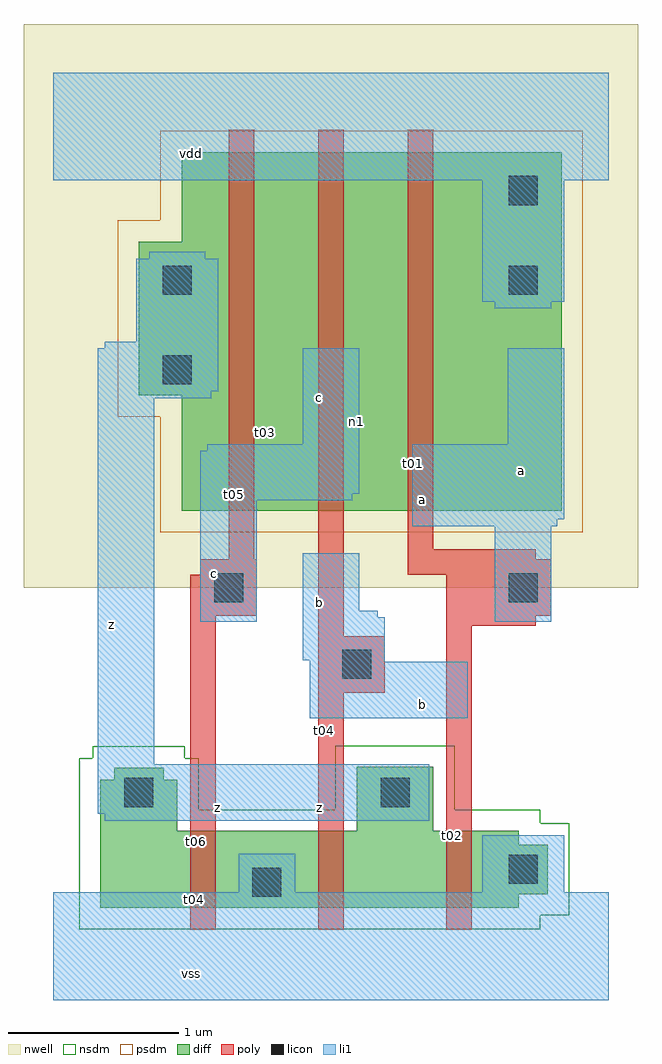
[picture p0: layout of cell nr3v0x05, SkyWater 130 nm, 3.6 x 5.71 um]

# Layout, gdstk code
import gdstk
lib = gdstk.Library(unit=1e-6, precision=5e-09)
def R(c, l, rs):  # rectangles x0, y0, x1, y1
    for r in rs: c.add(gdstk.rectangle(r[:2], r[2:], *l))
def A(c, l, x, y, w, h, nx, ny, dx, dy):  # array of equal rectangles
    R(c, l, [(x+i*dx, y+j*dy, x+i*dx+w, y+j*dy+h) for i in range(nx) for j in range(ny)])
nwell = (64, 20)
diff = (65, 20)
poly = (66, 20)
licon = (66, 44)
li1 = (67, 20)
nsdm = (93, 44)
psdm = (94, 20)

nr3v0x05 = lib.new_cell('nr3v0x05')
R(nr3v0x05, nwell, [(-0.3,2.4,3.3,5.7)])
R(nr3v0x05, diff, [(0.15,0.525,0.6,1.275), (0.15,0.525,2.6,0.975), (0.23,0.525,0.52,1.345), (1.65,0.525,2.1,1.35), (0.15,0.605,2.77,0.895), (0.625,2.85,2.85,4.95), (0.375,3.525,2.85,4.425)])
R(nr3v0x05, poly, [(0.675,0.395,0.825,2.475), (1.425,0.395,1.575,5.08), (2.175,0.395,2.325,2.625), (1.425,1.785,1.815,2.115), (2.175,2.175,2.7,2.625), (0.675,2.235,1.065,2.475), (0.735,2.235,1.065,2.565), (0.9,2.235,1.05,5.08), (2.175,2.235,2.7,2.625), (2.175,2.235,2.79,2.565), (1.95,2.475,2.1,5.08), (1.95,2.475,2.7,2.625)])
R(nr3v0x05, licon, [(1.04,0.59,1.21,0.76), (2.54,0.665,2.71,0.835), (0.29,1.115,0.46,1.285), (1.79,1.115,1.96,1.285), (1.565,1.865,1.735,2.035), (0.815,2.315,0.985,2.485), (2.54,2.315,2.71,2.485), (0.515,3.59,0.685,3.76), (0.515,4.115,0.685,4.285), (2.54,4.115,2.71,4.285), (2.54,4.64,2.71,4.81)])
A(nr3v0x05, li1, 1.375, 1.035, 0.25, 0.33, 1, 3, 0, 1.2)
R(nr3v0x05, li1, [(-0.125,-0.015,3.125,0.615), (-0.125,-0.015,3.125,0.615), (-0.125,-0.015,3.125,0.615), (0.96,-0.015,1.29,0.84), (2.385,-0.015,2.865,0.95), (0.175,1.035,0.465,3.84), (0.175,1.035,2.075,1.365), (0.775,1.035,1.025,1.365), (0.135,1.075,0.465,3.8), (0.135,1.075,2.075,1.365), (0.175,1.075,0.465,3.84), (0.175,1.075,0.465,3.84), (1.375,1.635,1.665,2.6), (1.375,1.635,2.3,1.965), (1.375,1.635,1.775,2.265), (1.375,1.635,1.815,2.225), (1.975,1.635,2.225,1.965), (0.135,1.675,0.465,3.725), (1.335,1.975,1.665,2.6), (1.335,1.975,1.815,2.225), (1.335,1.975,1.775,2.265), (0.735,2.2,1.065,3.2), (0.775,2.2,1.065,3.24), (0.775,2.2,1.065,3.24), (2.46,2.2,2.79,3.24), (2.535,2.2,2.79,3.8), (0.735,2.275,1.065,3.125), (1.975,2.76,2.825,3.24), (2.535,2.76,2.825,3.8), (1.975,2.8,2.865,3.24), (2.535,2.8,2.865,3.8), (1.975,2.835,2.225,3.165), (2.535,2.875,2.865,3.725), (0.735,2.91,1.625,3.2), (0.775,2.91,1.625,3.24), (1.335,2.91,1.625,3.8), (0.735,2.95,1.665,3.2), (0.775,2.95,1.665,3.24), (1.335,2.95,1.665,3.8), (0.135,3.51,0.8,3.8), (0.135,3.51,0.8,3.8), (0.135,3.51,0.8,3.8), (0.135,3.51,0.765,3.8), (0.175,3.51,0.8,3.84), (0.175,3.51,0.8,3.84), (0.175,3.51,0.8,3.84), (0.175,3.51,0.765,3.84), (0.36,3.51,0.8,4.325), (0.435,3.51,0.765,4.365), (0.135,3.55,0.84,3.8), (0.135,3.55,0.84,3.8), (0.135,3.55,0.84,3.8), (0.135,3.55,0.84,3.8), (0.135,3.55,0.84,3.8), (0.175,3.55,0.84,3.84), (0.175,3.55,0.84,3.84), (0.175,3.55,0.84,3.84), (0.36,3.55,0.84,4.325), (2.46,4.035,2.79,5.415), (2.385,4.075,2.865,5.415), (-0.125,4.785,3.125,5.415), (-0.125,4.785,3.125,5.415), (-0.125,4.785,3.125,5.415)])
R(nr3v0x05, nsdm, [(0.025,0.4,0.725,1.4), (0.025,0.4,2.725,1.1), (0.105,0.4,0.645,1.47), (1.525,0.4,2.225,1.475), (0.025,0.48,2.895,1.02), (0.15,0.525,0.6,1.275), (0.15,0.525,0.6,1.275), (0.975,0.525,1.275,0.975), (0.975,0.525,1.275,0.975), (1.725,0.525,2.025,1.05), (1.725,0.525,2.025,1.05), (0.98,0.53,1.27,0.82), (1.65,0.6,2.1,1.35), (1.65,0.6,2.1,1.35), (2.48,0.605,2.77,0.895), (0.23,1.055,0.52,1.345), (1.73,1.055,2.02,1.345)])
R(nr3v0x05, psdm, [(0.5,2.725,2.975,5.075), (1.125,2.85,1.425,4.95), (1.125,2.85,1.425,4.95), (1.575,2.85,1.875,4.95), (1.575,2.85,1.875,4.95), (2.25,2.85,2.55,4.95), (2.25,2.85,2.55,4.95), (2.4,2.85,2.85,4.95), (2.4,2.85,2.85,4.95), (0.25,3.4,2.975,4.55), (0.375,3.525,0.825,4.425), (0.375,3.525,0.825,4.425), (0.455,3.53,0.745,3.82), (0.455,4.055,0.745,4.345), (2.48,4.055,2.77,4.345), (2.48,4.58,2.77,4.87)])
nr3v0x05.add(gdstk.Label('t04', (0.7,0.575), layer=93, texttype=44))
nr3v0x05.add(gdstk.Label('t03', (1.115,3.31), layer=94, texttype=20))
nr3v0x05.add(gdstk.Label('t06', (0.76,0.635), layer=65, texttype=20))
nr3v0x05.add(gdstk.Label('n1', (1.18,3.375), layer=65, texttype=20))
nr3v0x05.add(gdstk.Label('n2', (1.2,3.375), layer=94, texttype=20))
nr3v0x05.add(gdstk.Label('n1', (1.65,3.375), layer=94, texttype=20))
nr3v0x05.add(gdstk.Label('t06', (0.71,0.915), layer=66, texttype=20))
nr3v0x05.add(gdstk.Label('t05', (0.935,2.945), layer=66, texttype=20))
nr3v0x05.add(gdstk.Label('t04', (1.46,1.565), layer=66, texttype=20))
nr3v0x05.add(gdstk.Label('t01', (1.985,3.125), layer=66, texttype=20))
nr3v0x05.add(gdstk.Label('t02', (2.21,0.95), layer=66, texttype=20))
nr3v0x05.add(gdstk.Label('z', (0.835,1.115), layer=67, texttype=20))
nr3v0x05.add(gdstk.Label('c', (0.815,2.485), layer=67, texttype=20))
nr3v0x05.add(gdstk.Label('z', (0.215,2.185), layer=67, texttype=20))
nr3v0x05.add(gdstk.Label('z', (1.435,1.115), layer=67, texttype=20))
nr3v0x05.add(gdstk.Label('b', (1.435,2.315), layer=67, texttype=20))
nr3v0x05.add(gdstk.Label('c', (1.435,3.515), layer=67, texttype=20))
nr3v0x05.add(gdstk.Label('b', (2.035,1.715), layer=67, texttype=20))
nr3v0x05.add(gdstk.Label('a', (2.035,2.915), layer=67, texttype=20))
nr3v0x05.add(gdstk.Label('vss', (0.685,0.14), layer=67, texttype=20))
nr3v0x05.add(gdstk.Label('vss', (0.685,0.14), layer=67, texttype=20))
nr3v0x05.add(gdstk.Label('a', (2.615,3.085), layer=67, texttype=20))
nr3v0x05.add(gdstk.Label('vdd', (0.685,4.94), layer=67, texttype=20))
nr3v0x05.add(gdstk.Label('vdd', (0.685,4.94), layer=67, texttype=20))

lib.write_gds('nr3v0x05.gds')
